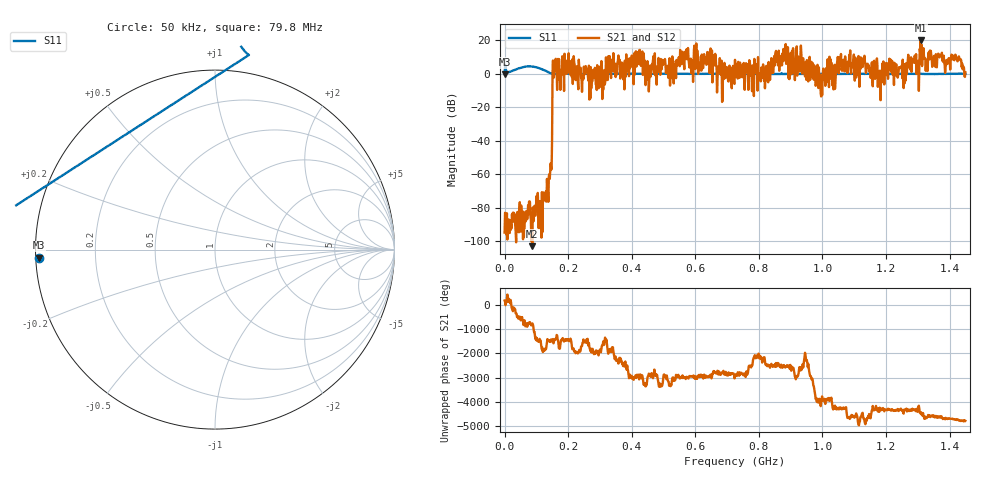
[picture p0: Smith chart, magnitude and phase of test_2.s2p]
! Created with skrf 1.11.0 (http://scikit-rf.org).
# Hz S RI R 50.0
!freq ReS11 ImS11 ReS21 ImS21 ReS12 ImS12 ReS22 ImS22
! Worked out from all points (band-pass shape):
!   1001 points, 50 kHz to 1.45 GHz, reference 50 ohm
!   highest |S21| = 20.02 dB at 1.309 GHz (marker M1); lowest = -103.0 dB at 87.05 MHz (marker M2)
!   |S21| within 3 dB of the highest: 602.9319 MHz to 603.3639 MHz (432 kHz wide, 0.0716 % of centre); 884.2193 MHz to 884.6221 MHz (402.8 kHz wide, 0.0455 % of centre) (the widest 2 of 4)
!   lowest |S11| = -0.2 dB at 50 kHz (marker M3), VSWR 98.86, Z = 0.506 - j1.14 ohm
!   |S11| at or under -10 dB: nowhere
!   |S22| runs from - to - dB; largest |S21 - S12| = 0
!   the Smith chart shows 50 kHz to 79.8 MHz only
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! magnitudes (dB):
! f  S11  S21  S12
! 50 kHz  -0.2  -94.9  -94.9
! 87.05 MHz  4.4  -103.0  -103.0
! 139.2 MHz  0.9  -61.3  -61.3
! 142.1 MHz  0.6  -62.7  -62.7
! 158.1 MHz  0.0  6.9  6.9
! 242.2 MHz  0.1  -2.8  -2.8
! 308.9 MHz  0.0  -4.5  -4.5
! 419.1 MHz  0.1  8.3  8.3
! 449.5 MHz  0.0  7.6  7.6
! 484.3 MHz  0.1  9.6  9.6
! 645.3 MHz  0.1  0.5  0.5
! 725 MHz  0.0  8.4  8.4
! 822.2 MHz  0.0  4.3  4.3
! 884.5 MHz  0.0  17.9  17.9
! 967.2 MHz  0.0  -0.3  -0.3
! 1.002 GHz  0.0  1.8  1.8
! 1.051 GHz  0.0  0.4  0.4
! 1.209 GHz  0.0  3.9  3.9
! 1.259 GHz  0.1  -5.6  -5.6
! 1.309 GHz  0.0  20.0  20.0
! 1.424 GHz  0.1  8.8  8.8
! 1.45 GHz  0.1  0.9  0.9
